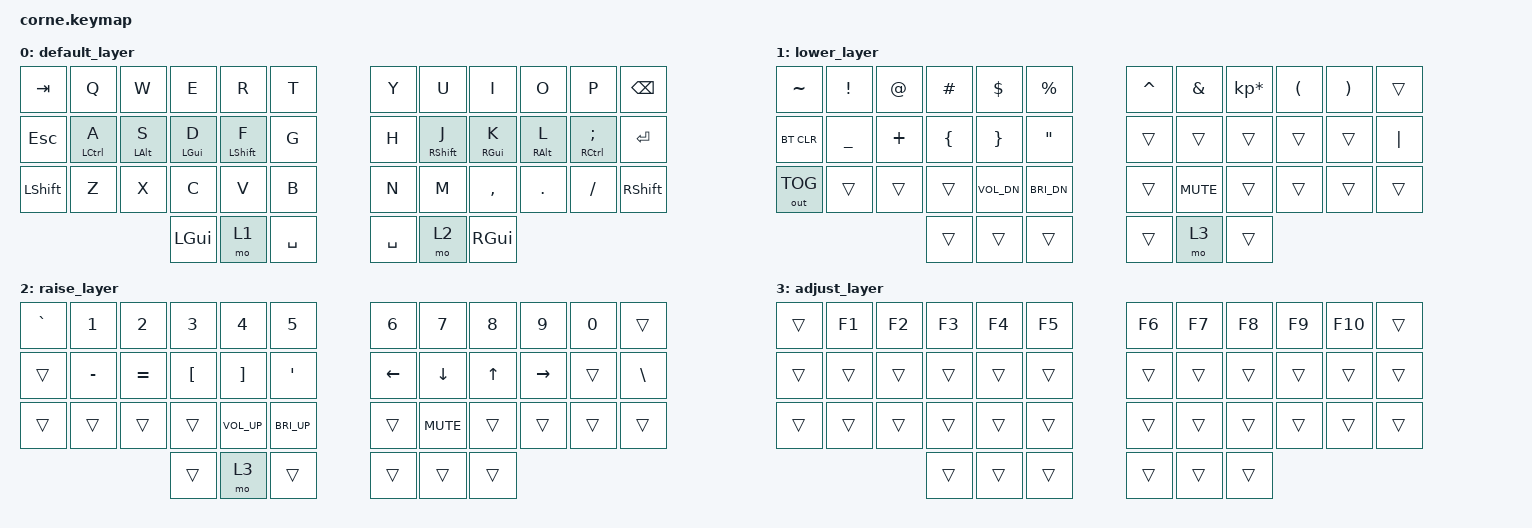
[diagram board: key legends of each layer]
/*
 * Copyright (c) 2020 The ZMK Contributors
 *
 * SPDX-License-Identifier: MIT
 */

#include <behaviors.dtsi>
#include <dt-bindings/zmk/keys.h>
#include <dt-bindings/zmk/bt.h>
#include <dt-bindings/zmk/outputs.h>

/ {
    behaviors {
        hm: homerow_mods {
            compatible = "zmk,behavior-hold-tap";
            label = "HOMEROW_MODS";
            #binding-cells = <2>;
            tapping-term-ms = <150>;
            quick_tap_ms = <0>;
            flavor = "tap-preferred";
            bindings = <&kp>, <&kp>;
        };
    };

    keymap {
        compatible = "zmk,keymap";

        default_layer {
// -----------------------------------------------------------------------------------------
// |  TAB |  Q  |  W  |  E  |  R  |  T  |   |  Y  |  U   |  I  |  O  |  P  | BKSP |
// |  ESC |  A  |  S  |  D  |  F  |  G  |   |  H  |  J   |  K  |  L  |  ;  |  ENT |
// | SHFT |  Z  |  X  |  C  |  V  |  B  |   |  N  |  M   |  ,  |  .  |  /  | SHFT |
//                    | GUI | LWR | SPC |   | SPC | RSE  | GUI |
            bindings = <
   &kp TAB   &kp Q       &kp W      &kp E      &kp R       &kp T   &kp Y &kp U       &kp I      &kp O      &kp P          &kp BSPC
   &kp ESC   &hm LCTRL A &hm LALT S &hm LGUI D &hm LSHFT F &kp G   &kp H &hm RSHFT J &hm RGUI K &hm RALT L &hm RCTRL SEMI &kp RET
   &kp LSHFT &kp Z       &kp X      &kp C      &kp V       &kp B   &kp N &kp M       &kp COMMA  &kp DOT    &kp FSLH       &kp RSHFT
                  &kp LGUI &mo 1 &kp SPACE   &kp SPACE &mo 2 &kp RGUI
            >;
        };

        lower_layer {
// -----------------------------------------------------------------------------------------
// |  ~   |  !  |  @  |  #  |  $  |  %  |   |  ^  |  &  |  *  |  (  |  )  |      |
// |BT_CLR|  _  |  +  |  {  |  }  |  "  |   | LFT | DWN |  UP | RGT |     |  |   |
// |OUT_TG|     |     |     |VOLDN|BRIDN|   |     |MUTE |     |     |     |      |
//                    |     |     |     |   |     | ADJ |     |
            bindings = <
   &kp TILDE    &kp EXCL   &kp AT   &kp HASH  &kp DLLR     &kp PRCNT    &kp CARET &kp AMPS  &kp KP_MULTIPLY &kp LPAR &kp RPAR &trans
   &bt BT_CLR   &kp UNDER  &kp PLUS &kp LBRC  &kp RBRC     &kp DQT      &trans &trans &trans &trans &trans &kp PIPE
   &out OUT_TOG &trans     &trans   &trans    &kp C_VOL_DN &kp C_BRI_DN &trans   &kp C_MUTE &trans &trans    &trans &trans
                                        &trans &trans       &trans &trans &mo 3 &trans
            >;
        };

        raise_layer {
// -----------------------------------------------------------------------------------------
// |  `   |  1  |  2  |  3  |  4  |  5  |   |  6  |  7  |  8  |  9  |  0  |      |
// |      |  -  |  =  |  [  |  ]  |  '  |   |     |     |     |     |     |  \   |
// |      |     |     |     |VOLUP|BRIUP|   |     |MUTE |     |     |     |      |
//                    |     | ADJ |     |   |     |     |     |
            bindings = <
   &kp GRAVE &kp N1    &kp N2    &kp N3    &kp N4       &kp N5       &kp N6   &kp N7   &kp N8 &kp N9    &kp N0 &trans
   &trans    &kp MINUS &kp EQUAL &kp LBKT  &kp RBKT     &kp SQT      &kp LEFT &kp DOWN &kp UP &kp RIGHT &trans &kp BSLH
   &trans    &trans    &trans    &trans    &kp C_VOL_UP &kp C_BRI_UP &trans    &kp C_MUTE    &trans          &trans   &trans &trans
                                        &trans &mo 3 &trans       &trans &trans &trans
            >;
        };

        adjust_layer {
// -----------------------------------------------------------------------------------------
// |      |     |     |     |     |     |   |     |     |     |     |     |      |
// |      |     |     |     |     |     |   |     |     |     |     |     |      |
// |      |     |     |     |     |     |   |     |     |     |     |     |      |
//                    |     |     |     |   |     |     |     |
            bindings = <
   &trans      &kp F1    &kp F2    &kp F3    &kp F4    &kp F5    &kp F6    &kp F7    &kp F8    &kp F9    &kp F10   &trans
   &trans      &trans    &trans    &trans    &trans    &trans    &trans    &trans    &trans    &trans    &trans    &trans
   &trans      &trans    &trans    &trans    &trans    &trans    &trans    &trans    &trans    &trans    &trans    &trans
                                        &trans &trans       &trans &trans &trans &trans
            >;
        };
    };
};
